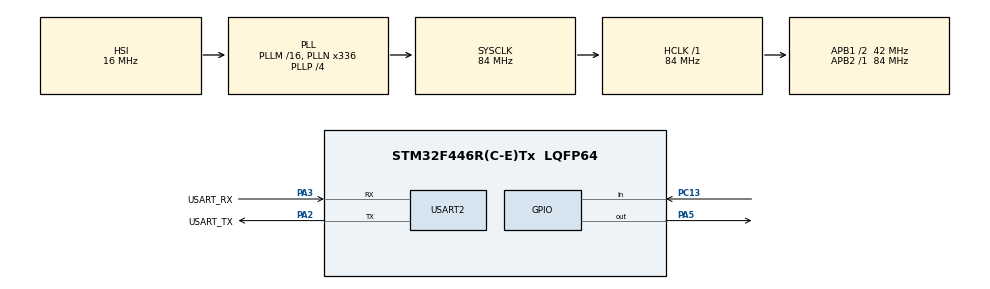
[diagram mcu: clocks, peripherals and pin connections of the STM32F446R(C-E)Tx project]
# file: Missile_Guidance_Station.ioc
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Mcu.Family=STM32F4
Mcu.Name=STM32F446R(C-E)Tx
Mcu.Package=LQFP64
NUCLEO-F446RE.BUTTON=1
NUCLEO-F446RE.LD1=true
NVIC.EXTI15_10_IRQn=true\:0\:0\:false\:false\:true\:false\:true\:true
NVIC.PriorityGroup=NVIC_PRIORITYGROUP_0
NVIC.USART2_IRQn=true\:0\:0\:false\:false\:true\:true\:true\:true
PA13.GPIO_Label=TMS
PA13.Signal=SYS_JTMS-SWDIO
PA14.GPIO_Label=TCK
PA14.Signal=SYS_JTCK-SWCLK
PA2.GPIO_Label=USART_TX
PA2.Mode=Asynchronous
PA2.Signal=USART2_TX
PA3.GPIO_Label=USART_RX
PA3.Mode=Asynchronous
PA3.Signal=USART2_RX
PA5.Signal=GPIO_Output
PB3.GPIO_Label=SWO
PB3.Signal=SYS_JTDO-SWO
PC13.Signal=GPIO_Input
PC14-OSC32_IN.Signal=RCC_OSC32_IN
PC15-OSC32_OUT.Signal=RCC_OSC32_OUT
PH0-OSC_IN.Signal=RCC_OSC_IN
PH1-OSC_OUT.Signal=RCC_OSC_OUT
ProjectManager.HeapSize=0x200
ProjectManager.StackSize=0x400
ProjectManager.TargetToolchain=STM32CubeIDE
RCC.AHBFreq_Value=84000000
RCC.APB1CLKDivider=RCC_HCLK_DIV2
RCC.APB1Freq_Value=42000000
RCC.APB1TimFreq_Value=84000000
RCC.APB2Freq_Value=84000000
RCC.APB2TimFreq_Value=84000000
RCC.CortexFreq_Value=84000000
RCC.FLatency-AdvancedSettings=FLASH_LATENCY_2
RCC.HCLKFreq_Value=84000000
RCC.HSE_VALUE=8000000
RCC.HSI_VALUE=16000000
RCC.LSE_VALUE=32768
RCC.PLLN=336
RCC.PLLP=RCC_PLLP_DIV4
RCC.SYSCLKFreq_VALUE=84000000
RCC.SYSCLKSource=RCC_SYSCLKSOURCE_PLLCLK
RCC.USBFreq_Value=168000000
RCC.VCOOutputFreq_Value=336000000
USART2.VirtualMode=VM_ASYNC
VP_NUCLEO-F446RE_VS_BSP_COMMON.Mode=COMMON
board=NUCLEO-F446RE

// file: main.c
/* USER CODE BEGIN Header */
/**
  ******************************************************************************
  * @file           : main.c
  * @brief          : Main program body
  ******************************************************************************
  * @attention
  *
  * Copyright (c) 2026 STMicroelectronics.
  * All rights reserved.
  *
  * This software is licensed under terms that can be found in the LICENSE file
  * in the root directory of this software component.
  * If no LICENSE file comes with this software, it is provided AS-IS.
  *
  ******************************************************************************
  */
/* USER CODE END Header */
#include "main.h"

/* USER CODE BEGIN Includes */
#include <string.h>
#include <stdio.h>
#include <stdbool.h>
/* USER CODE END Includes */

UART_HandleTypeDef huart2;

/* USER CODE BEGIN PV */
uint8_t rx_byte;
char rx_buffer[64];
uint8_t rx_index = 0;
bool new_packet_received = false;
uint32_t last_button_time = 0;
/* USER CODE END PV */

void SystemClock_Config(void);
static void MX_GPIO_Init(void);
static void MX_USART2_UART_Init(void);
/* USER CODE BEGIN PFP */
void ProcessWebCommand(char *cmd);
/* USER CODE END PFP */

int main(void)
{

  /* MCU Configuration--------------------------------------------------------*/

  /* Reset of all peripherals, Initializes the Flash interface and the Systick. */
  HAL_Init();

  /* Configure the system clock */
  SystemClock_Config();

  /* Initialize all configured peripherals */
  MX_GPIO_Init();
  MX_USART2_UART_Init();
  /* USER CODE BEGIN 2 */
  // UART Kesmesini (Interrupt) 1 baytlık dinleme için başlatıyoruz
  HAL_UART_Receive_IT(&huart2, &rx_byte, 1);

  // Başlangıç mesajını web sitesine bildir
  char init_msg[] = "[MCU_BOOT] STM32F446RE Sistem Hazir (180MHz)\r\n";
  HAL_UART_Transmit(&huart2, (uint8_t*)init_msg, strlen(init_msg), 100);
  /* USER CODE END 2 */

  /* Initialize leds */
  BSP_LED_Init(LED2);

  /* Initialize USER push-button, will be used to trigger an interrupt each time it's pressed.*/
  BSP_PB_Init(BUTTON_USER, BUTTON_MODE_EXTI);

  /* Infinite loop */
  /* USER CODE BEGIN WHILE */
  while (1)
  {
      /* 1. MAVİ BUTON (PC13) KONTROLÜ - FÜZE ATEŞLEME */
      // Nucleo-F446RE'de mavi butona basıldığında pin LOW (0) seviyesine düşer
      if (HAL_GPIO_ReadPin(GPIOC, GPIO_PIN_13) == GPIO_PIN_RESET)
      {
          // Basit debouncing (buton gürültüsünü engelleme)
          if (HAL_GetTick() - last_button_time > 400)
          {
              last_button_time = HAL_GetTick();

              // Web sitesinin beklediği tetikleme komutunu yolla
              char fire_cmd[] = "FIRE_BUTTON_PRESSED\n";
              HAL_UART_Transmit(&huart2, (uint8_t*)fire_cmd, strlen(fire_cmd), 100);
          }
      }

      /* 2. WEB'DEN GELEN KOMUTLARI İŞLEME */
      if (new_packet_received)
      {
          ProcessWebCommand(rx_buffer);
          new_packet_received = false;
          rx_index = 0;
          memset(rx_buffer, 0, sizeof(rx_buffer));
      }

      /* USER CODE END WHILE */

  }
}

void SystemClock_Config(void)
{
  RCC_OscInitTypeDef RCC_OscInitStruct = {0};
  RCC_ClkInitTypeDef RCC_ClkInitStruct = {0};

  /** Configure the main internal regulator output voltage
  */
  __HAL_RCC_PWR_CLK_ENABLE();
  __HAL_PWR_VOLTAGESCALING_CONFIG(PWR_REGULATOR_VOLTAGE_SCALE3);

  /** Initializes the RCC Oscillators according to the specified parameters
  * in the RCC_OscInitTypeDef structure.
  */
  RCC_OscInitStruct.OscillatorType = RCC_OSCILLATORTYPE_HSI;
  RCC_OscInitStruct.HSIState = RCC_HSI_ON;
  RCC_OscInitStruct.HSICalibrationValue = RCC_HSICALIBRATION_DEFAULT;
  RCC_OscInitStruct.PLL.PLLState = RCC_PLL_ON;
  RCC_OscInitStruct.PLL.PLLSource = RCC_PLLSOURCE_HSI;
  RCC_OscInitStruct.PLL.PLLM = 16;
  RCC_OscInitStruct.PLL.PLLN = 336;
  RCC_OscInitStruct.PLL.PLLP = RCC_PLLP_DIV4;
  RCC_OscInitStruct.PLL.PLLQ = 2;
  RCC_OscInitStruct.PLL.PLLR = 2;
  if (HAL_RCC_OscConfig(&RCC_OscInitStruct) != HAL_OK)
  {
    Error_Handler();
  }

  /** Initializes the CPU, AHB and APB buses clocks
  */
  RCC_ClkInitStruct.ClockType = RCC_CLOCKTYPE_HCLK|RCC_CLOCKTYPE_SYSCLK
                              |RCC_CLOCKTYPE_PCLK1|RCC_CLOCKTYPE_PCLK2;
  RCC_ClkInitStruct.SYSCLKSource = RCC_SYSCLKSOURCE_PLLCLK;
  RCC_ClkInitStruct.AHBCLKDivider = RCC_SYSCLK_DIV1;
  RCC_ClkInitStruct.APB1CLKDivider = RCC_HCLK_DIV2;
  RCC_ClkInitStruct.APB2CLKDivider = RCC_HCLK_DIV1;

  if (HAL_RCC_ClockConfig(&RCC_ClkInitStruct, FLASH_LATENCY_2) != HAL_OK)
  {
    Error_Handler();
  }
}

static void MX_USART2_UART_Init(void)
{

  huart2.Instance = USART2;
  huart2.Init.BaudRate = 115200;
  huart2.Init.WordLength = UART_WORDLENGTH_8B;
  huart2.Init.StopBits = UART_STOPBITS_1;
  huart2.Init.Parity = UART_PARITY_NONE;
  huart2.Init.Mode = UART_MODE_TX_RX;
  huart2.Init.HwFlowCtl = UART_HWCONTROL_NONE;
  huart2.Init.OverSampling = UART_OVERSAMPLING_16;
  if (HAL_UART_Init(&huart2) != HAL_OK)
  {
    Error_Handler();
  }

}

static void MX_GPIO_Init(void)
{
  GPIO_InitTypeDef GPIO_InitStruct = {0};

  /* GPIO Ports Clock Enable */
  __HAL_RCC_GPIOC_CLK_ENABLE();
  __HAL_RCC_GPIOH_CLK_ENABLE();
  __HAL_RCC_GPIOA_CLK_ENABLE();
  __HAL_RCC_GPIOB_CLK_ENABLE();

  /*Configure GPIO pin Output Level */
  HAL_GPIO_WritePin(GPIOA, GPIO_PIN_5, GPIO_PIN_RESET);

  /*Configure GPIO pin : PC13 */
  GPIO_InitStruct.Pin = GPIO_PIN_13;
  GPIO_InitStruct.Mode = GPIO_MODE_INPUT;
  GPIO_InitStruct.Pull = GPIO_NOPULL;
  HAL_GPIO_Init(GPIOC, &GPIO_InitStruct);

  /*Configure GPIO pin : PA5 */
  GPIO_InitStruct.Pin = GPIO_PIN_5;
  GPIO_InitStruct.Mode = GPIO_MODE_OUTPUT_PP;
  GPIO_InitStruct.Pull = GPIO_NOPULL;
  GPIO_InitStruct.Speed = GPIO_SPEED_FREQ_LOW;
  HAL_GPIO_Init(GPIOA, &GPIO_InitStruct);

}

/* USER CODE BEGIN 4 */
// UART Kesme Geri Çağırma (Callback) Fonksiyonu
void HAL_UART_RxCpltCallback(UART_HandleTypeDef *huart)
{
    if (huart->Instance == USART2)
    {
        if (rx_byte == '\n' || rx_byte == '\r')
        {
            rx_buffer[rx_index] = '\0';
            if (rx_index > 0)
            {
                new_packet_received = true;
            }
        }
        else
        {
            if (rx_index < sizeof(rx_buffer) - 1)
            {
                rx_buffer[rx_index++] = rx_byte;
            }
        }
        // Bir sonraki baytı dinlemek için kesmeyi tekrar kur
        HAL_UART_Receive_IT(&huart2, &rx_byte, 1);
    }
}

// Web arayüzünden gelen metinleri ayrıştırma
void ProcessWebCommand(char *cmd)
{
    if (strncmp(cmd, "LOCK:", 5) == 0)
    {
        // Format: "LOCK:X,Y,AZIMUTH,ELEVATION"
        int target_x, target_y;
        float azimuth, elevation;
        sscanf(cmd + 5, "%d,%d,%f,%f", &target_x, &target_y, &azimuth, &elevation);

        // Hedef kilitlendiğinde üzerindeki yeşil LED'i yak
        HAL_GPIO_WritePin(GPIOA, GPIO_PIN_5, GPIO_PIN_SET);

        // İleride buraya servo PWM sürüşü (TIMx->CCR) eklenebilir
    }
    else if (strcmp(cmd, "HIT_CONFIRMED") == 0)
    {
        // Hedef vurulduğunda LED'i 3 kez hızlıca yakıp söndür
        for (int i = 0; i < 3; i++)
        {
            HAL_GPIO_TogglePin(GPIOA, GPIO_PIN_5);
            HAL_Delay(80);
        }
        HAL_GPIO_WritePin(GPIOA, GPIO_PIN_5, GPIO_PIN_RESET);
    }
}
/* USER CODE END 4 */

void Error_Handler(void)
{
  __disable_irq();
  while (1)
  {
  }
}
